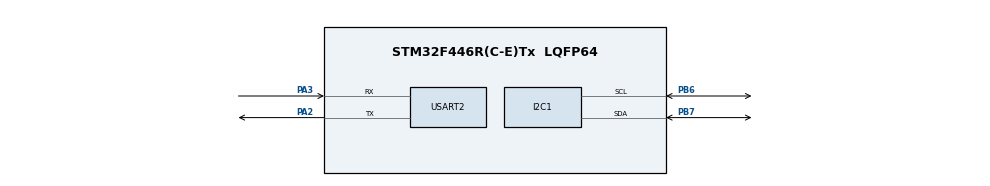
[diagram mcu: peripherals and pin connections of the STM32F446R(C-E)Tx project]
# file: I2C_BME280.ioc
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Mcu.Family=STM32F4
Mcu.Name=STM32F446R(C-E)Tx
Mcu.Package=LQFP64
NVIC.PriorityGroup=NVIC_PRIORITYGROUP_4
PA13.Mode=Serial_Wire
PA13.Signal=SYS_JTMS-SWDIO
PA14.Mode=Serial_Wire
PA14.Signal=SYS_JTCK-SWCLK
PA2.Mode=Asynchronous
PA2.Signal=USART2_TX
PA3.Mode=Asynchronous
PA3.Signal=USART2_RX
PB6.GPIO_Pu=GPIO_PULLUP
PB6.Mode=I2C
PB6.Signal=I2C1_SCL
PB7.GPIO_Pu=GPIO_PULLUP
PB7.Mode=I2C
PB7.Signal=I2C1_SDA
ProjectManager.HeapSize=0x200
ProjectManager.StackSize=0x400
ProjectManager.TargetToolchain=STM32CubeIDE
RCC.CortexFreq_Value=16000000
RCC.USBFreq_Value=96000000
RCC.VCOOutputFreq_Value=192000000
USART2.VirtualMode=VM_ASYNC
board=custom

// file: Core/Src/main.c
/* USER CODE BEGIN Header */
/**
  ******************************************************************************
  * @file           : main.c
  * @brief          : Main program body
  ******************************************************************************
  * @attention
  *
  * Copyright (c) 2026 STMicroelectronics.
  * All rights reserved.
  *
  * This software is licensed under terms that can be found in the LICENSE file
  * in the root directory of this software component.
  * If no LICENSE file comes with this software, it is provided AS-IS.
  *
  ******************************************************************************
  */
/* USER CODE END Header */
#include "main.h"

/* USER CODE BEGIN Includes */
#include <stdio.h>
#include "BME280.h"
/* USER CODE END Includes */

I2C_HandleTypeDef hi2c1;

UART_HandleTypeDef huart2;

/* USER CODE BEGIN PV */
BME280_TypeDef raw_data;
BME280_Actual Results;
int8_t status;

//calibration values from BME280 NVM
int16_t Dig_T[3] = {0};
int16_t Dig_P[9] = {0};
int16_t Dig_H[6] = {0};

/* USER CODE END PV */

void SystemClock_Config(void);
static void MX_GPIO_Init(void);
static void MX_USART2_UART_Init(void);
static void MX_I2C1_Init(void);

/* USER CODE BEGIN 0 */

// Send printf to uart2
int _write(int fd, char* ptr, int len) {
  HAL_StatusTypeDef hstatus;

  if (fd == 1 || fd == 2) {
    hstatus = HAL_UART_Transmit(&huart2, (uint8_t *) ptr, len, HAL_MAX_DELAY);
    if (hstatus == HAL_OK)
      return len;
    else
      return -1;
  }
  return -1;
}

inline uint32_t HAL_GetTick(void) {
	return uwTick;
}

/* USER CODE END 0 */

int main(void)
{

  /* MCU Configuration--------------------------------------------------------*/

  /* Reset of all peripherals, Initializes the Flash interface and the Systick. */
  HAL_Init();

  /* Configure the system clock */
  SystemClock_Config();

  /* Initialize all configured peripherals */
  MX_GPIO_Init();
  MX_USART2_UART_Init();
  MX_I2C1_Init();
  /* USER CODE BEGIN 2 */

  printf("\n\n\n\r------\n\rStarting I2C1\n\r");
  printf("\n\rScan I2C1\n\r");

  // Go through all possible i2c addresses
  for (uint8_t i = 0; i < 128; i++) {

	  //shift address left by 1 due to R/W bit
  	  if (HAL_I2C_IsDeviceReady(&hi2c1, (uint16_t)(i<<1), 3, 5) == HAL_OK) {
  		  // device sends back an ack
  		  printf("%2x ", i);
  	  } else {
  		  printf("-- ");
  	  }

  	  if (i > 0 && (i + 1) % 16 == 0) printf("\n\r");

  }

  printf("\n\r");

  status = BME280_Init(&hi2c1, Dig_T, Dig_P, Dig_H);
  if (status != 0){
	  Error_Handler();
  }

  BME280_Measure(&hi2c1, &raw_data, Dig_T, Dig_P, Dig_H, &Results);

  /* USER CODE END 2 */

  /* Infinite loop */
  /* USER CODE BEGIN WHILE */

  uint32_t now = 0, next_tick = 1000, loop_cnt = 0;

  while (1)
  {
	  now = HAL_GetTick();

	  if (now >= next_tick) {

	  	printf("Tick %lu (loop = %lu)\n\r", now / 1000, loop_cnt);

	  	loop_cnt = 0;
	  	next_tick = now + 1000;

	  }

	  ++loop_cnt;
    /* USER CODE END WHILE */

  }
}

void SystemClock_Config(void)
{
  RCC_OscInitTypeDef RCC_OscInitStruct = {0};
  RCC_ClkInitTypeDef RCC_ClkInitStruct = {0};

  /** Configure the main internal regulator output voltage
  */
  __HAL_RCC_PWR_CLK_ENABLE();
  __HAL_PWR_VOLTAGESCALING_CONFIG(PWR_REGULATOR_VOLTAGE_SCALE3);

  /** Initializes the RCC Oscillators according to the specified parameters
  * in the RCC_OscInitTypeDef structure.
  */
  RCC_OscInitStruct.OscillatorType = RCC_OSCILLATORTYPE_HSI;
  RCC_OscInitStruct.HSIState = RCC_HSI_ON;
  RCC_OscInitStruct.HSICalibrationValue = RCC_HSICALIBRATION_DEFAULT;
  RCC_OscInitStruct.PLL.PLLState = RCC_PLL_NONE;
  if (HAL_RCC_OscConfig(&RCC_OscInitStruct) != HAL_OK)
  {
    Error_Handler();
  }

  /** Initializes the CPU, AHB and APB buses clocks
  */
  RCC_ClkInitStruct.ClockType = RCC_CLOCKTYPE_HCLK|RCC_CLOCKTYPE_SYSCLK
                              |RCC_CLOCKTYPE_PCLK1|RCC_CLOCKTYPE_PCLK2;
  RCC_ClkInitStruct.SYSCLKSource = RCC_SYSCLKSOURCE_HSI;
  RCC_ClkInitStruct.AHBCLKDivider = RCC_SYSCLK_DIV1;
  RCC_ClkInitStruct.APB1CLKDivider = RCC_HCLK_DIV1;
  RCC_ClkInitStruct.APB2CLKDivider = RCC_HCLK_DIV1;

  if (HAL_RCC_ClockConfig(&RCC_ClkInitStruct, FLASH_LATENCY_0) != HAL_OK)
  {
    Error_Handler();
  }
}

static void MX_I2C1_Init(void)
{

  hi2c1.Instance = I2C1;
  hi2c1.Init.ClockSpeed = 100000;
  hi2c1.Init.DutyCycle = I2C_DUTYCYCLE_2;
  hi2c1.Init.OwnAddress1 = 0;
  hi2c1.Init.AddressingMode = I2C_ADDRESSINGMODE_7BIT;
  hi2c1.Init.DualAddressMode = I2C_DUALADDRESS_DISABLE;
  hi2c1.Init.OwnAddress2 = 0;
  hi2c1.Init.GeneralCallMode = I2C_GENERALCALL_DISABLE;
  hi2c1.Init.NoStretchMode = I2C_NOSTRETCH_DISABLE;
  if (HAL_I2C_Init(&hi2c1) != HAL_OK)
  {
    Error_Handler();
  }

}

static void MX_USART2_UART_Init(void)
{

  huart2.Instance = USART2;
  huart2.Init.BaudRate = 115200;
  huart2.Init.WordLength = UART_WORDLENGTH_8B;
  huart2.Init.StopBits = UART_STOPBITS_1;
  huart2.Init.Parity = UART_PARITY_NONE;
  huart2.Init.Mode = UART_MODE_TX_RX;
  huart2.Init.HwFlowCtl = UART_HWCONTROL_NONE;
  huart2.Init.OverSampling = UART_OVERSAMPLING_16;
  if (HAL_UART_Init(&huart2) != HAL_OK)
  {
    Error_Handler();
  }

}

static void MX_GPIO_Init(void)
{

  /* GPIO Ports Clock Enable */
  __HAL_RCC_GPIOA_CLK_ENABLE();
  __HAL_RCC_GPIOB_CLK_ENABLE();

}

void Error_Handler(void)
{
  __disable_irq();
  while (1)
  {
  }
}
